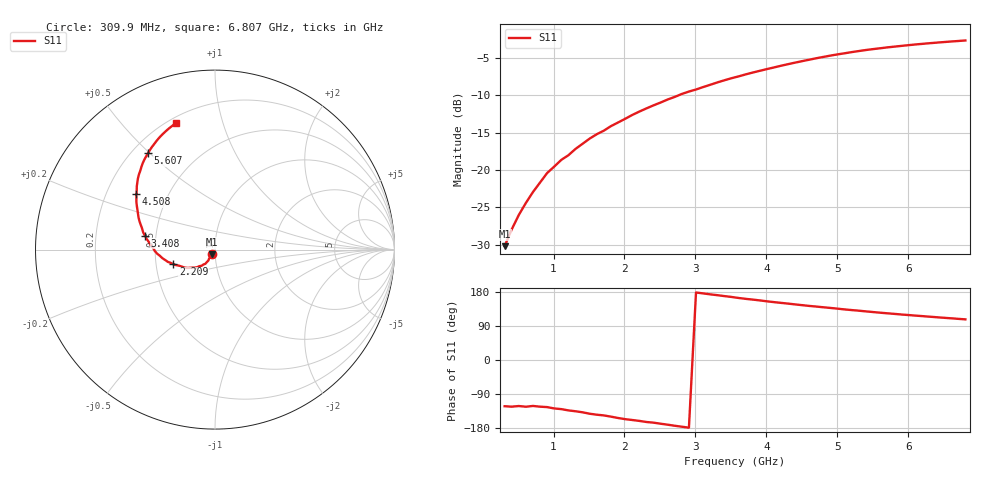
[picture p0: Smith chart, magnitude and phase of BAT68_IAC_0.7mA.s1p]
! Infineon Technologies  Discrete & RF Semiconductors
! BAT68
! IAC = 0.7 mA
! One-Port S-Parameters
# Hz  S  MA  R  50
!f  S11
!Hz  Mag  Ang
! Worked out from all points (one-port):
!   66 points, 309.9 MHz to 6.807 GHz, reference 50 ohm
!   lowest |S11| = -30.2 dB at 309.9 MHz (marker M1), VSWR 1.06, Z = 48.3 - j2.54 ohm
!   |S11| at or under -10 dB: start of sweep to 2.76 GHz
!   S11 on the Smith chart (normalised r, x): 309.9 MHz: 0.97, -0.05; 2.209 GHz: 0.62, -0.11; 3.408 GHz: 0.43, +0.08; 4.508 GHz: 0.33, +0.29; 5.607 GHz: 0.26, +0.49; 6.807 GHz: 0.23, +0.71
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3.0985e8  0.03097 -122.0
4.098e8  0.04007 -123.1
5.0975e8  0.05007 -121.5
6.097e8  0.06029 -123.3
7.0965e8  0.07133 -121.2
9.0955e8  0.09559 -124.3
1.10945e9  0.1171 -129.6
1.2094e9  0.1258 -133.0
1.30935e9  0.1386 -135.3
1.50925e9  0.1626 -141.8
1.70915e9  0.1837 -146.2
1.8091e9  0.1969 -149.5
2.009e9  0.2203 -156.1
2.2089e9  0.2464 -160.7
2.4088e9  0.2712 -165.4
2.8086e9  0.3233 -176.0
3.4083e9  0.3991 168.7
3.6082e9  0.4238 163.7
3.90805e9  0.4619 157.2
4.4078e9  0.5242 146.6
4.50775e9  0.5365 144.7
4.90755e9  0.5843 137.3
5.2074e9  0.6166 131.7
5.4073e9  0.6367 128.3
5.6072e9  0.654 124.8
6.007e9  0.6859 118.6
6.30685e9  0.7071 114.2
6.8066e9  0.7374 107.3
